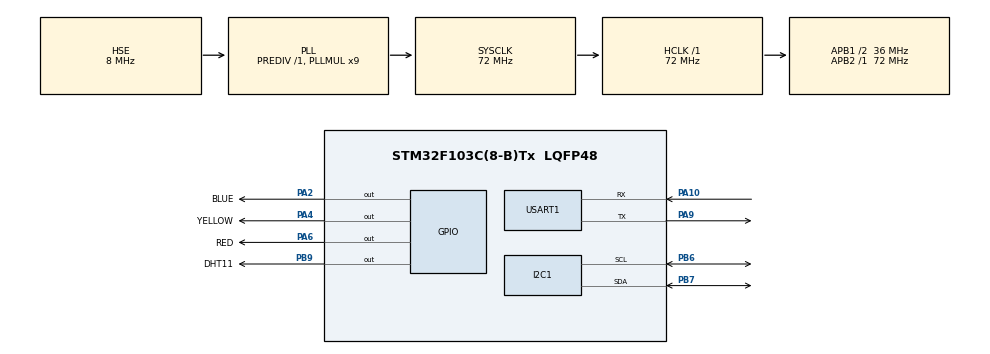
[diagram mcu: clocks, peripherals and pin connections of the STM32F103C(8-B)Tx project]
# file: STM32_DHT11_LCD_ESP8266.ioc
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Mcu.Family=STM32F1
Mcu.Name=STM32F103C(8-B)Tx
Mcu.Package=LQFP48
NVIC.PriorityGroup=NVIC_PRIORITYGROUP_4
PA10.Mode=Asynchronous
PA10.Signal=USART1_RX
PA13.Mode=Serial_Wire
PA13.Signal=SYS_JTMS-SWDIO
PA14.Mode=Serial_Wire
PA14.Signal=SYS_JTCK-SWCLK
PA2.GPIO_Label=BLUE
PA2.Signal=GPIO_Output
PA4.GPIO_Label=YELLOW
PA4.Signal=GPIO_Output
PA6.GPIO_Label=RED
PA6.Signal=GPIO_Output
PA9.Mode=Asynchronous
PA9.Signal=USART1_TX
PB6.Mode=I2C
PB6.Signal=I2C1_SCL
PB7.Mode=I2C
PB7.Signal=I2C1_SDA
PB9.GPIO_Label=DHT11
PB9.Signal=GPIO_Output
PD0-OSC_IN.Mode=HSE-External-Oscillator
PD0-OSC_IN.Signal=RCC_OSC_IN
PD1-OSC_OUT.Mode=HSE-External-Oscillator
PD1-OSC_OUT.Signal=RCC_OSC_OUT
ProjectManager.HeapSize=0x200
ProjectManager.StackSize=0x400
ProjectManager.TargetToolchain=MDK-ARM V5
RCC.AHBFreq_Value=72000000
RCC.APB1CLKDivider=RCC_HCLK_DIV2
RCC.APB1Freq_Value=36000000
RCC.APB1TimFreq_Value=72000000
RCC.APB2Freq_Value=72000000
RCC.APB2TimFreq_Value=72000000
RCC.HCLKFreq_Value=72000000
RCC.PLLMUL=RCC_PLL_MUL9
RCC.PLLSourceVirtual=RCC_PLLSOURCE_HSE
RCC.SYSCLKFreq_VALUE=72000000
RCC.SYSCLKSource=RCC_SYSCLKSOURCE_PLLCLK
RCC.USBFreq_Value=72000000
TIM1.Prescaler=71
USART1.VirtualMode=VM_ASYNC
VP_TIM1_VS_ClockSourceINT.Mode=Internal
board=custom

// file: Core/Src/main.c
/* USER CODE BEGIN Header */
/**
  ******************************************************************************
  * @file           : main.c
  * @brief          : Main program body
  ******************************************************************************
  * @attention
  *
  * Copyright (c) 2023 STMicroelectronics.
  * All rights reserved.
  *
  * This software is licensed under terms that can be found in the LICENSE file
  * in the root directory of this software component.
  * If no LICENSE file comes with this software, it is provided AS-IS.
  *
  ******************************************************************************
  */
/* USER CODE END Header */
#include "main.h"
#include "stdio.h"
#include "math.h"
#include "string.h"
/* USER CODE BEGIN Includes */
#include "i2c-lcd.h"
/* USER CODE END Includes */

I2C_HandleTypeDef hi2c1;

TIM_HandleTypeDef htim1;

UART_HandleTypeDef huart1;

void SystemClock_Config(void);
static void MX_GPIO_Init(void);
static void MX_I2C1_Init(void);
static void MX_TIM1_Init(void);
static void MX_USART1_UART_Init(void);

/* USER CODE BEGIN 0 */
#define DHT11_PORT GPIOB
#define DHT11_PIN GPIO_PIN_9
uint8_t RHI, RHD, TCI, TCD, SUM;
uint32_t pMillis, cMillis;
float tCelsius = 0;
float tFahrenheit = 0;
float RH = 0;
char str_tC[20];
char str_tF[20];
char str_RH[20];

void microDelay (uint16_t delay)
{
  __HAL_TIM_SET_COUNTER(&htim1, 0);
  while (__HAL_TIM_GET_COUNTER(&htim1) < delay);
}

uint8_t DHT11_Start (void)
{
  uint8_t Response = 0;
  GPIO_InitTypeDef GPIO_InitStructPrivate = {0};
  GPIO_InitStructPrivate.Pin = DHT11_PIN;
  GPIO_InitStructPrivate.Mode = GPIO_MODE_OUTPUT_PP;
  GPIO_InitStructPrivate.Speed = GPIO_SPEED_FREQ_LOW;
  GPIO_InitStructPrivate.Pull = GPIO_NOPULL;
  HAL_GPIO_Init(DHT11_PORT, &GPIO_InitStructPrivate); // set the pin as output
  HAL_GPIO_WritePin (DHT11_PORT, DHT11_PIN, 0);   // pull the pin low
  HAL_Delay(20);   // wait for 20ms
  HAL_GPIO_WritePin (DHT11_PORT, DHT11_PIN, 1);   // pull the pin high
  microDelay (30);   // wait for 30us
  GPIO_InitStructPrivate.Mode = GPIO_MODE_INPUT;
  GPIO_InitStructPrivate.Pull = GPIO_PULLUP;
  HAL_GPIO_Init(DHT11_PORT, &GPIO_InitStructPrivate); // set the pin as input
  microDelay (40);
  if (!(HAL_GPIO_ReadPin (DHT11_PORT, DHT11_PIN)))
  {
    microDelay (80);
    if ((HAL_GPIO_ReadPin (DHT11_PORT, DHT11_PIN))) Response = 1;
  }
  pMillis = HAL_GetTick();
  cMillis = HAL_GetTick();
  while ((HAL_GPIO_ReadPin (DHT11_PORT, DHT11_PIN)) && pMillis + 2 > cMillis)
  {
    cMillis = HAL_GetTick();
  }
  return Response;
}

uint8_t DHT11_Read (void)
{
  uint8_t a,b;
  for (a=0;a<8;a++)
  {
    pMillis = HAL_GetTick();
    cMillis = HAL_GetTick();
    while (!(HAL_GPIO_ReadPin (DHT11_PORT, DHT11_PIN)) && pMillis + 2 > cMillis)
    {  // wait for the pin to go high
      cMillis = HAL_GetTick();
    }
    microDelay (40);   // wait for 40 us
    if (!(HAL_GPIO_ReadPin (DHT11_PORT, DHT11_PIN)))   // if the pin is low
      b&= ~(1<<(7-a));
    else
      b|= (1<<(7-a));
    pMillis = HAL_GetTick();
    cMillis = HAL_GetTick();
    while ((HAL_GPIO_ReadPin (DHT11_PORT, DHT11_PIN)) && pMillis + 2 > cMillis)
    {  // wait for the pin to go low
      cMillis = HAL_GetTick();
    }
  }
  return b;
}
void reverse(char* str, int len)
{
    int i = 0, j = len - 1, temp;
    while (i < j) {
        temp = str[i];
        str[i] = str[j];
        str[j] = temp;
        i++;
        j--;
    }
}

// Converts a given integer x to string str[].
// d is the number of digits required in the output.
// If d is more than the number of digits in x,
// then 0s are added at the beginning.
int intToStr(int x, char str[], int d)
{
    int i = 0;
    while (x) {
        str[i++] = (x % 10) + '0';
        x = x / 10;
    }

    // If number of digits required is more, then
    // add 0s at the beginning
    while (i < d)
        str[i++] = '0';

    reverse(str, i);
    str[i] = '\0';
    return i;
}

// Converts a floating-point/double number to a string.
void ftoa(float n, char* res, int afterpoint)
{
    // Extract integer part
    int ipart = (int)n;

    // Extract floating part
    float fpart = n - (float)ipart;

    // convert integer part to string
    int i = intToStr(ipart, res, 0);

    // check for display option after point
    if (afterpoint != 0) {
        res[i] = '.'; // add dot

        // Get the value of fraction part upto given no.
        // of points after dot. The third parameter
        // is needed to handle cases like 233.007
        fpart = fpart * pow(10, afterpoint);

        intToStr((int)fpart, res + i + 1, afterpoint);
    }
}
/* USER CODE END 0 */

int main(void)
{

  /* MCU Configuration--------------------------------------------------------*/

  /* Reset of all peripherals, Initializes the Flash interface and the Systick. */
  HAL_Init();

  /* Configure the system clock */
  SystemClock_Config();

  /* Initialize all configured peripherals */
  MX_GPIO_Init();
  MX_I2C1_Init();
  MX_TIM1_Init();
  MX_USART1_UART_Init();
  /* USER CODE BEGIN 2 */
  HAL_TIM_Base_Start(&htim1);
  /* USER CODE END 2 */

  /* Infinite loop */
  /* USER CODE BEGIN WHILE */
  while (1)
  {
		 char result[40];
		 HAL_GPIO_WritePin(GPIOA, GPIO_PIN_2, 0);
     HAL_GPIO_WritePin(GPIOA, GPIO_PIN_4, 0);
     HAL_GPIO_WritePin(GPIOA, GPIO_PIN_6, 0);
		 if(DHT11_Start())
    {
      RHI = DHT11_Read(); // Relative humidity integral
      RHD = DHT11_Read(); // Relative humidity decimal
      TCI = DHT11_Read(); // Celsius integral
      TCD = DHT11_Read(); // Celsius decimal
      SUM = DHT11_Read(); // Check sum
      if (RHI + RHD + TCI + TCD == SUM)
      {
        // Can use RHI and TCI for any purposes if whole number only needed
        tCelsius = (float)TCI + (float)(TCD/10.0);
        tFahrenheit = tCelsius * 9/5 + 32;
        RH = (float)RHI + (float)(RHD/10.0);
        // Can use tCelsius, tFahrenheit and RH for any purposes
      }
			ftoa(tCelsius, str_tC, 2);
			ftoa(RH, str_RH, 2);
			lcd_init ();
			lcd_send_string("Temp:");
			lcd_send_string(str_tC);
			lcd_send_string("C");
	    //HAL_Delay(1000);
	    lcd_goto_XY(2,0);
	    lcd_send_string("Humi:");
			lcd_send_string(str_RH);
			lcd_send_string("%");
			strcpy(result,str_tC);
			strcat(result, " ");
			strcat(result,str_RH);
			HAL_UART_Transmit(&huart1, (uint8_t*) result, 9, 1000);
      if (TCI < 15)
      {
        HAL_GPIO_WritePin(GPIOA, GPIO_PIN_2, 0);
        HAL_GPIO_WritePin(GPIOA, GPIO_PIN_4, 0);
        HAL_GPIO_WritePin(GPIOA, GPIO_PIN_6, 1);
      }
      else if (TCI < 25 )
      {
        HAL_GPIO_WritePin(GPIOA, GPIO_PIN_2, 0);
        HAL_GPIO_WritePin(GPIOA, GPIO_PIN_4, 1);
        HAL_GPIO_WritePin(GPIOA, GPIO_PIN_6, 0);
      }
      else
      {
        HAL_GPIO_WritePin(GPIOA, GPIO_PIN_2, 1);
        HAL_GPIO_WritePin(GPIOA, GPIO_PIN_4, 0);
        HAL_GPIO_WritePin(GPIOA, GPIO_PIN_6, 0);
      }
			//lcd_clear_display();
    }
    HAL_Delay(3000);
    /* USER CODE END WHILE */

  }
}

void SystemClock_Config(void)
{
  RCC_OscInitTypeDef RCC_OscInitStruct = {0};
  RCC_ClkInitTypeDef RCC_ClkInitStruct = {0};

  /** Initializes the RCC Oscillators according to the specified parameters
  * in the RCC_OscInitTypeDef structure.
  */
  RCC_OscInitStruct.OscillatorType = RCC_OSCILLATORTYPE_HSE;
  RCC_OscInitStruct.HSEState = RCC_HSE_ON;
  RCC_OscInitStruct.HSEPredivValue = RCC_HSE_PREDIV_DIV1;
  RCC_OscInitStruct.HSIState = RCC_HSI_ON;
  RCC_OscInitStruct.PLL.PLLState = RCC_PLL_ON;
  RCC_OscInitStruct.PLL.PLLSource = RCC_PLLSOURCE_HSE;
  RCC_OscInitStruct.PLL.PLLMUL = RCC_PLL_MUL9;
  if (HAL_RCC_OscConfig(&RCC_OscInitStruct) != HAL_OK)
  {
    Error_Handler();
  }

  /** Initializes the CPU, AHB and APB buses clocks
  */
  RCC_ClkInitStruct.ClockType = RCC_CLOCKTYPE_HCLK|RCC_CLOCKTYPE_SYSCLK
                              |RCC_CLOCKTYPE_PCLK1|RCC_CLOCKTYPE_PCLK2;
  RCC_ClkInitStruct.SYSCLKSource = RCC_SYSCLKSOURCE_PLLCLK;
  RCC_ClkInitStruct.AHBCLKDivider = RCC_SYSCLK_DIV1;
  RCC_ClkInitStruct.APB1CLKDivider = RCC_HCLK_DIV2;
  RCC_ClkInitStruct.APB2CLKDivider = RCC_HCLK_DIV1;

  if (HAL_RCC_ClockConfig(&RCC_ClkInitStruct, FLASH_LATENCY_2) != HAL_OK)
  {
    Error_Handler();
  }
}

static void MX_I2C1_Init(void)
{

  hi2c1.Instance = I2C1;
  hi2c1.Init.ClockSpeed = 100000;
  hi2c1.Init.DutyCycle = I2C_DUTYCYCLE_2;
  hi2c1.Init.OwnAddress1 = 0;
  hi2c1.Init.AddressingMode = I2C_ADDRESSINGMODE_7BIT;
  hi2c1.Init.DualAddressMode = I2C_DUALADDRESS_DISABLE;
  hi2c1.Init.OwnAddress2 = 0;
  hi2c1.Init.GeneralCallMode = I2C_GENERALCALL_DISABLE;
  hi2c1.Init.NoStretchMode = I2C_NOSTRETCH_DISABLE;
  if (HAL_I2C_Init(&hi2c1) != HAL_OK)
  {
    Error_Handler();
  }

}

static void MX_TIM1_Init(void)
{

  TIM_ClockConfigTypeDef sClockSourceConfig = {0};
  TIM_MasterConfigTypeDef sMasterConfig = {0};

  htim1.Instance = TIM1;
  htim1.Init.Prescaler = 71;
  htim1.Init.CounterMode = TIM_COUNTERMODE_UP;
  htim1.Init.Period = 65535;
  htim1.Init.ClockDivision = TIM_CLOCKDIVISION_DIV1;
  htim1.Init.RepetitionCounter = 0;
  htim1.Init.AutoReloadPreload = TIM_AUTORELOAD_PRELOAD_DISABLE;
  if (HAL_TIM_Base_Init(&htim1) != HAL_OK)
  {
    Error_Handler();
  }
  sClockSourceConfig.ClockSource = TIM_CLOCKSOURCE_INTERNAL;
  if (HAL_TIM_ConfigClockSource(&htim1, &sClockSourceConfig) != HAL_OK)
  {
    Error_Handler();
  }
  sMasterConfig.MasterOutputTrigger = TIM_TRGO_RESET;
  sMasterConfig.MasterSlaveMode = TIM_MASTERSLAVEMODE_DISABLE;
  if (HAL_TIMEx_MasterConfigSynchronization(&htim1, &sMasterConfig) != HAL_OK)
  {
    Error_Handler();
  }

}

static void MX_USART1_UART_Init(void)
{

  huart1.Instance = USART1;
  huart1.Init.BaudRate = 115200;
  huart1.Init.WordLength = UART_WORDLENGTH_8B;
  huart1.Init.StopBits = UART_STOPBITS_1;
  huart1.Init.Parity = UART_PARITY_NONE;
  huart1.Init.Mode = UART_MODE_TX_RX;
  huart1.Init.HwFlowCtl = UART_HWCONTROL_NONE;
  huart1.Init.OverSampling = UART_OVERSAMPLING_16;
  if (HAL_UART_Init(&huart1) != HAL_OK)
  {
    Error_Handler();
  }

}

static void MX_GPIO_Init(void)
{
  GPIO_InitTypeDef GPIO_InitStruct = {0};

  /* GPIO Ports Clock Enable */
  __HAL_RCC_GPIOD_CLK_ENABLE();
  __HAL_RCC_GPIOA_CLK_ENABLE();
  __HAL_RCC_GPIOB_CLK_ENABLE();

  /*Configure GPIO pin Output Level */
  HAL_GPIO_WritePin(GPIOA, BLUE_Pin|YELLOW_Pin|RED_Pin, GPIO_PIN_RESET);

  /*Configure GPIO pin Output Level */
  HAL_GPIO_WritePin(DHT11_GPIO_Port, DHT11_Pin, GPIO_PIN_RESET);

  /*Configure GPIO pins : BLUE_Pin YELLOW_Pin RED_Pin */
  GPIO_InitStruct.Pin = BLUE_Pin|YELLOW_Pin|RED_Pin;
  GPIO_InitStruct.Mode = GPIO_MODE_OUTPUT_PP;
  GPIO_InitStruct.Pull = GPIO_NOPULL;
  GPIO_InitStruct.Speed = GPIO_SPEED_FREQ_LOW;
  HAL_GPIO_Init(GPIOA, &GPIO_InitStruct);

  /*Configure GPIO pin : DHT11_Pin */
  GPIO_InitStruct.Pin = DHT11_Pin;
  GPIO_InitStruct.Mode = GPIO_MODE_OUTPUT_PP;
  GPIO_InitStruct.Pull = GPIO_NOPULL;
  GPIO_InitStruct.Speed = GPIO_SPEED_FREQ_LOW;
  HAL_GPIO_Init(DHT11_GPIO_Port, &GPIO_InitStruct);

}

void Error_Handler(void)
{
  __disable_irq();
  while (1)
  {
  }
}
